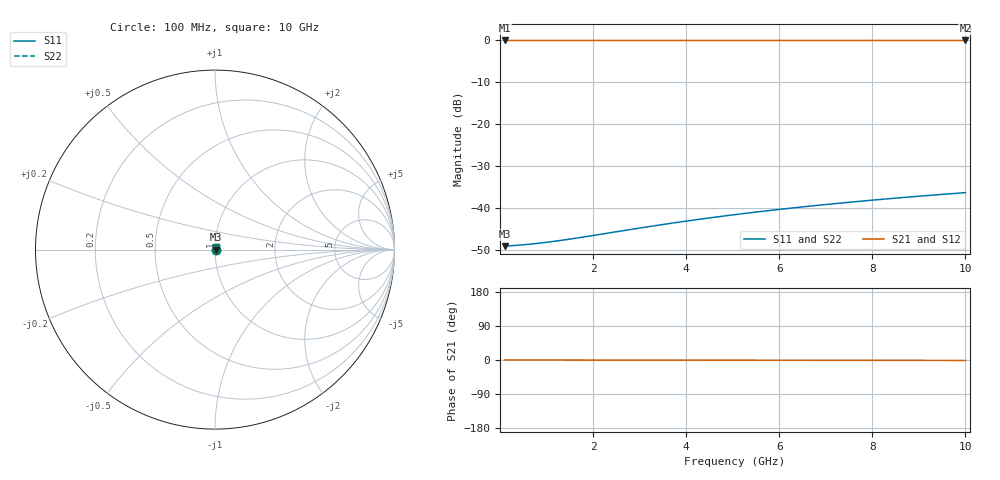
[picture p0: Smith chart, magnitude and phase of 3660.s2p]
# Hz S RI R 50.00
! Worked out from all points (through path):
!   100 points, 100 MHz to 10 GHz, reference 50 ohm
!   highest |S21| = -0.03 dB at 100 MHz (marker M1); lowest = 0.0 dB at 10 GHz (marker M2)
!   lowest |S11| = -49.1 dB at 100 MHz (marker M3), VSWR 1.01, Z = 50.4 + j0.0148 ohm
!   |S11| at or under -10 dB: start of sweep to end of sweep
!   |S22| runs from -49.1 to -36.4 dB; largest |S21 - S12| = 0
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1e8  0.00349 0.000147  0.9965 -0.000188  0.9965 -0.000188  0.00349 0.000147
5e8  0.00356 0.000733  0.9964 -0.000942  0.9964 -0.000942  0.00356 0.000733
7e8  0.00358 0.00103  0.9964 -0.00132  0.9964 -0.00132  0.00358 0.00103
9e8  0.00359 0.00132  0.9964 -0.00169  0.9964 -0.00169  0.00359 0.00132
1.1e9  0.00361 0.00161  0.9964 -0.00207  0.9964 -0.00207  0.00361 0.00161
1.3e9  0.00362 0.00191  0.9964 -0.00245  0.9964 -0.00245  0.00362 0.00191
1.5e9  0.00363 0.0022  0.9964 -0.00282  0.9964 -0.00282  0.00363 0.0022
1.8e9  0.00365 0.00264  0.9964 -0.00339  0.9964 -0.00339  0.00365 0.00264
2.9e9  0.0037 0.00425  0.9963 -0.00546  0.9963 -0.00546  0.0037 0.00425
3.4e9  0.00372 0.00498  0.9963 -0.0064  0.9963 -0.0064  0.00372 0.00498
3.8e9  0.00374 0.00557  0.9963 -0.00716  0.9963 -0.00716  0.00374 0.00557
4.2e9  0.00375 0.00616  0.9962 -0.00791  0.9962 -0.00791  0.00375 0.00616
4.6e9  0.00377 0.00674  0.9962 -0.00866  0.9962 -0.00866  0.00377 0.00674
5.1e9  0.00379 0.00747  0.9962 -0.00961  0.9962 -0.00961  0.00379 0.00747
5.5e9  0.00381 0.00806  0.9962 -0.0104  0.9962 -0.0104  0.00381 0.00806
5.9e9  0.00383 0.00865  0.9962 -0.0111  0.9962 -0.0111  0.00383 0.00865
6.3e9  0.00385 0.00923  0.9961 -0.0119  0.9961 -0.0119  0.00385 0.00923
6.7e9  0.00387 0.00982  0.9961 -0.0126  0.9961 -0.0126  0.00387 0.00982
7.5e9  0.00392 0.011  0.9961 -0.0141  0.9961 -0.0141  0.00392 0.011
8.4e9  0.00397 0.0123  0.996 -0.0158  0.996 -0.0158  0.00397 0.0123
9.2e9  0.00402 0.0135  0.996 -0.0173  0.996 -0.0173  0.00402 0.0135
1e10  0.00407 0.0147  0.9959 -0.0188  0.9959 -0.0188  0.00407 0.0147
